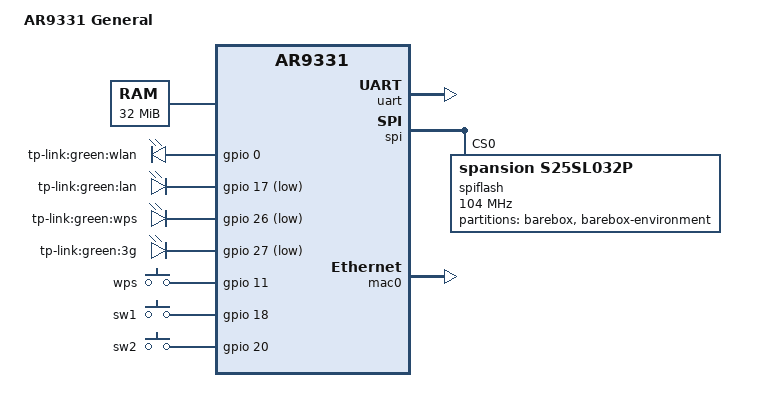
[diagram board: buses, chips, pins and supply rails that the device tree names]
// SPDX-License-Identifier: GPL-2.0
/dts-v1/;

#include <dt-bindings/gpio/gpio.h>
#include <dt-bindings/input/input.h>

#include <mips/qca/ar9331.dtsi>
#include "ar9331.dtsi"

/ {
	model = "AR9331 General";
	compatible = "ar9331-general";

	chosen {
		environment@0 {
			compatible = "barebox,environment";
			device-path = &spiflash, "partname:barebox-environment";
		};
	};

	aliases {
		serial0 = &uart;
        spiflash = &spiflash;
	};

	memory@0 {
		device_type = "memory";
		reg = <0x0 0x2000000>;
	};

	leds {
		compatible = "gpio-leds";

		wlan {
			label = "tp-link:green:wlan";
			gpios = <&gpio 0 GPIO_ACTIVE_HIGH>;
			default-state = "off";
		};

		lan {
			label = "tp-link:green:lan";
			gpios = <&gpio 17 GPIO_ACTIVE_LOW>;
			default-state = "off";
		};

		wps {
			label = "tp-link:green:wps";
			gpios = <&gpio 26 GPIO_ACTIVE_LOW>;
			default-state = "off";
		};

		led3g {
			label = "tp-link:green:3g";
			gpios = <&gpio 27 GPIO_ACTIVE_LOW>;
			default-state = "off";
		};
	};

	gpio-keys-polled {
		compatible = "gpio-keys-polled";
		#address-cells = <1>;
		#size-cells = <0>;
		poll-interval = <100>;

		button@0 {
			label = "wps";
			linux,code = <KEY_WPS_BUTTON>;
			gpios = <&gpio 11 GPIO_ACTIVE_HIGH>;
		};

		button@1 {
			label = "sw1";
			linux,code = <BTN_0>;
			gpios = <&gpio 18 GPIO_ACTIVE_HIGH>;
		};

		button@2 {
			label = "sw2";
			linux,code = <BTN_1>;
			gpios = <&gpio 20 GPIO_ACTIVE_HIGH>;
		};
	};
};

&ref {
	clock-frequency = <25000000>;
};

&uart {
	status = "okay";
};

&gpio {
	status = "okay";
};

&spi {
	num-chipselects = <1>;
	status = "okay";

	/* Spansion S25FL032PIF SPI flash */
	spiflash: s25sl032p@0 {
		#address-cells = <1>;
		#size-cells = <1>;
		compatible = "spansion,s25sl032p", "jedec,spi-nor";
		spi-max-frequency = <104000000>;
		reg = <0>;
	};
};

&spiflash {
	partition@0 {
		label = "barebox";
		reg = <0 0x80000>;
	};

	partition@80000 {
		label = "barebox-environment";
		reg = <0x80000 0x10000>;
	};
};

&mac0 {
	status = "okay";
};
